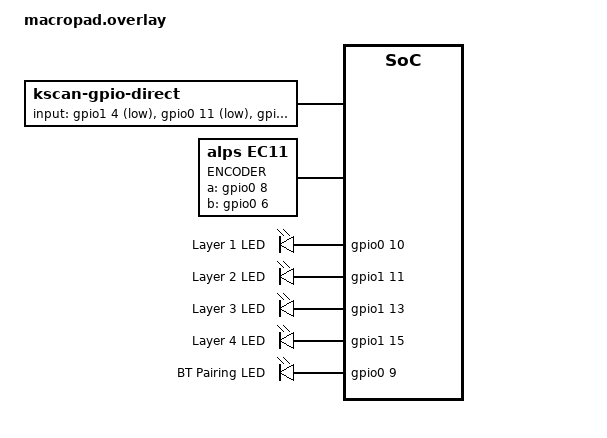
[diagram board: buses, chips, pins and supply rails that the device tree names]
#include <dt-bindings/gpio/gpio.h>

/ {
    chosen {
        zmk,kscan = &kscan0;
    };

    // 스위치 1~7번 및 노브 클릭 스위치 (총 8개 다이렉트 핀)
    kscan0: kscan_0 {
        compatible = "zmk,kscan-gpio-direct";
        label = "KSCAN";
        input-gpios
            = <&gpio1 4  (GPIO_ACTIVE_LOW | GPIO_PULL_UP)> // 1번 키 (P1.04)
            , <&gpio0 11 (GPIO_ACTIVE_LOW | GPIO_PULL_UP)> // 2번 키 (P0.11)
            , <&gpio1 0  (GPIO_ACTIVE_LOW | GPIO_PULL_UP)> // 3번 키 (P1.00)
            , <&gpio1 6  (GPIO_ACTIVE_LOW | GPIO_PULL_UP)> // 4번 키 (P1.06)
            , <&gpio0 24 (GPIO_ACTIVE_LOW | GPIO_PULL_UP)> // 5번 키 (P0.24)
            , <&gpio0 22 (GPIO_ACTIVE_LOW | GPIO_PULL_UP)> // 6번 키 (P0.22)
            , <&gpio0 17 (GPIO_ACTIVE_LOW | GPIO_PULL_UP)> // 7번 키 (P0.17) - 전원 잠금 토글
            , <&gpio0 20 (GPIO_ACTIVE_LOW | GPIO_PULL_UP)> // 노브 클릭 (P0.20)
            ;
    };

    // 로터리 엔코더
    encoder: encoder {
        compatible = "alps,ec11";
        label = "ENCODER";
        a-gpios = <&gpio0 8 (GPIO_ACTIVE_HIGH | GPIO_PULL_UP)>; // P0.08
        b-gpios = <&gpio0 6 (GPIO_ACTIVE_HIGH | GPIO_PULL_UP)>; // P0.06
        steps = <80>;
        status = "okay";
    };

    sensors: sensors {
        compatible = "zmk,keymap-sensors";
        sensors = <&encoder>;
        triggers-per-rotation = <20>;
    };

    // LED 5개 핀 정의
    gpio_leds {
        compatible = "gpio-leds";
        led_0: led_0 {
            gpios = <&gpio0 10 GPIO_ACTIVE_HIGH>; // LED 1번 (P0.10) - 레이어 1
            label = "Layer 1 LED";
        };
        led_1: led_1 {
            gpios = <&gpio1 11 GPIO_ACTIVE_HIGH>; // LED 2번 (P1.11) - 레이어 2
            label = "Layer 2 LED";
        };
        led_2: led_2 {
            gpios = <&gpio1 13 GPIO_ACTIVE_HIGH>; // LED 3번 (P1.13) - 레이어 3
            label = "Layer 3 LED";
        };
        led_3: led_3 {
            gpios = <&gpio1 15 GPIO_ACTIVE_HIGH>; // LED 4번 (P1.15) - 레이어 4
            label = "Layer 4 LED";
        };
        led_4: led_4 {
            gpios = <&gpio0 9  GPIO_ACTIVE_HIGH>; // LED 5번 (P0.09) - BT 페어링 점멸
            label = "BT Pairing LED";
        };
    };

    aliases {
        led0 = &led_0;
        led1 = &led_1;
        led2 = &led_2;
        led3 = &led_3;
        led4 = &led_4;
    };
};
